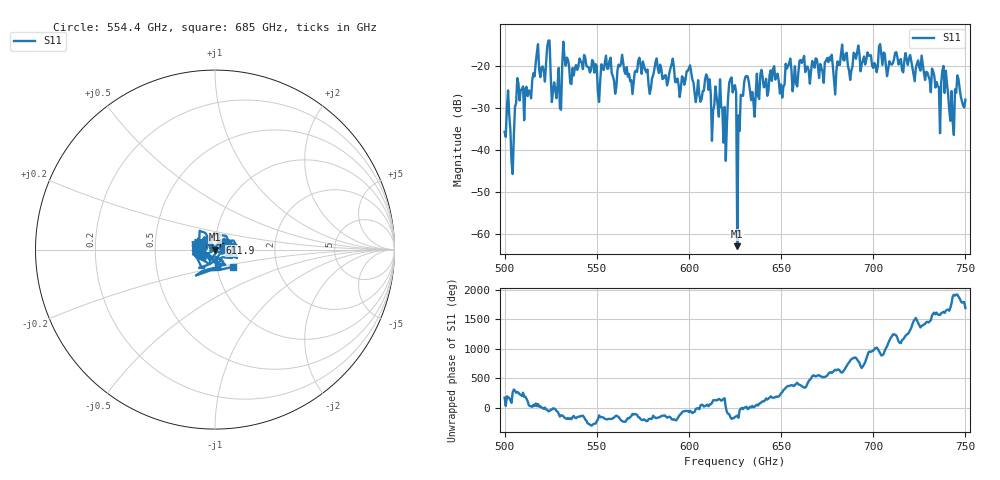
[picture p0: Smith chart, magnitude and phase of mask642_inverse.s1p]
!Created with skrf (http://scikit-rf.org).
# GHz S MA R 50.0
!freq magS11 angS11
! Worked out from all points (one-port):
!   401 points, 500 GHz to 750 GHz, reference 50 ohm
!   lowest |S11| = -63.0 dB at 626.2 GHz (marker M1), VSWR 1.00, Z = 49.9 - j0.0469 ohm
!   |S11| at or under -10 dB: start of sweep to end of sweep
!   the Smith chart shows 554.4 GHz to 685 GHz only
!   S11 on the Smith chart (normalised r, x): 554.4 GHz: 0.81, +0.04; 611.9 GHz: 1.05, +0.08; 685 GHz: 1.20, -0.23
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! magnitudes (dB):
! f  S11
! 500 GHz  -35.7
! 504.4 GHz  -45.8
! 506.9 GHz  -22.9
! 513.8 GHz  -26.1
! 516.9 GHz  -19.3
! 523.8 GHz  -14.0
! 526.9 GHz  -23.9
! 531.2 GHz  -20.0
! 554.4 GHz  -19.2
! 562.5 GHz  -20.1
! 593.8 GHz  -23.0
! 600 GHz  -20.6
! 611.9 GHz  -26.8
! 619.4 GHz  -29.8
! 623.8 GHz  -26.3
! 625 GHz  -24.6
! 626.2 GHz  -63.0
! 631.2 GHz  -22.4
! 635 GHz  -28.5
! 656.2 GHz  -26.1
! 685 GHz  -17.1
! 687.5 GHz  -23.4
! 718.8 GHz  -19.8
! 735 GHz  -24.8
! 738.8 GHz  -26.5
! 742.5 GHz  -26.0
! 745.6 GHz  -22.3
! 750 GHz  -28.1
